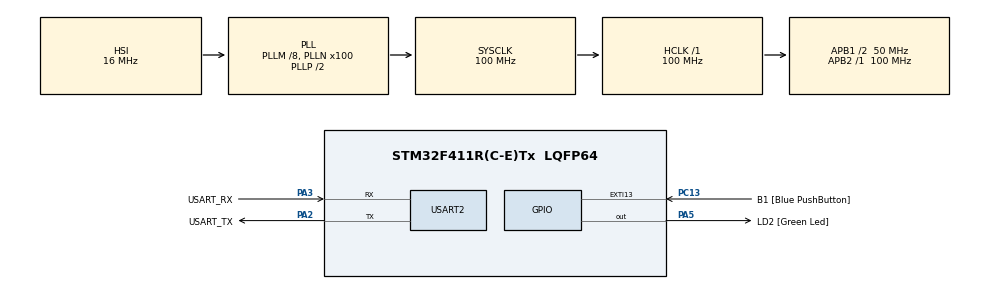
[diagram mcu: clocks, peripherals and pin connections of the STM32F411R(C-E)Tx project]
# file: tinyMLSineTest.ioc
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Mcu.Family=STM32F4
Mcu.Name=STM32F411R(C-E)Tx
Mcu.Package=LQFP64
NVIC.PriorityGroup=NVIC_PRIORITYGROUP_0
PA13.GPIO_Label=TMS
PA13.Mode=Serial_Wire
PA13.Signal=SYS_JTMS-SWDIO
PA14.GPIO_Label=TCK
PA14.Mode=Serial_Wire
PA14.Signal=SYS_JTCK-SWCLK
PA2.GPIO_Label=USART_TX
PA2.Mode=Asynchronous
PA2.Signal=USART2_TX
PA3.GPIO_Label=USART_RX
PA3.Mode=Asynchronous
PA3.Signal=USART2_RX
PA5.GPIO_Label=LD2 [Green Led]
PA5.Signal=GPIO_Output
PB3.GPIO_Label=SWO
PB3.Signal=SYS_JTDO-SWO
PC13-ANTI_TAMP.GPIO_Label=B1 [Blue PushButton]
PC13-ANTI_TAMP.GPIO_ModeDefaultEXTI=GPIO_MODE_IT_FALLING
PC13-ANTI_TAMP.Signal=GPXTI13
PC14-OSC32_IN.Mode=LSE-External-Oscillator
PC14-OSC32_IN.Signal=RCC_OSC32_IN
PC15-OSC32_OUT.Mode=LSE-External-Oscillator
PC15-OSC32_OUT.Signal=RCC_OSC32_OUT
PH0\ -\ OSC_IN.Mode=HSE-External-Clock-Source
PH0\ -\ OSC_IN.Signal=RCC_OSC_IN
PH1\ -\ OSC_OUT.Mode=HSE-External-Clock-Source
PH1\ -\ OSC_OUT.Signal=RCC_OSC_OUT
ProjectManager.HeapSize=0x200
ProjectManager.StackSize=0x800
ProjectManager.TargetToolchain=STM32CubeIDE
RCC.48MHZClocksFreq_Value=50000000
RCC.AHBFreq_Value=100000000
RCC.APB1CLKDivider=RCC_HCLK_DIV2
RCC.APB1Freq_Value=50000000
RCC.APB1TimFreq_Value=100000000
RCC.APB2Freq_Value=100000000
RCC.APB2TimFreq_Value=100000000
RCC.CortexFreq_Value=100000000
RCC.FLatency-AdvancedSettings=FLASH_LATENCY_3
RCC.HCLKFreq_Value=100000000
RCC.HSE_VALUE=8000000
RCC.HSI_VALUE=16000000
RCC.PLLM=8
RCC.PLLN=100
RCC.SYSCLKFreq_VALUE=100000000
RCC.SYSCLKSource=RCC_SYSCLKSOURCE_PLLCLK
RCC.VCOOutputFreq_Value=200000000
STMicroelectronics.X-CUBE-AI.5.1.2.ActivationBufferSizeList=136
STMicroelectronics.X-CUBE-AI.5.1.2.HeapSize=0x200
STMicroelectronics.X-CUBE-AI.5.1.2.InternalRamActivationBufferMaxSize=AI_SINE_MODEL_DATA_ACTIVATIONS_SIZE
STMicroelectronics.X-CUBE-AI.5.1.2.LatestDirectoryUsed-f183b992f345e0e266e5e4baad3d33b18fe246deb4fd7bf12be9cb23b31dbaaf=/home/jutoroa/workspace/NN_TinyML/SineWaveTFLite
STMicroelectronics.X-CUBE-AI.5.1.2.MaximumNumberOfInputLayer=1
STMicroelectronics.X-CUBE-AI.5.1.2.MaximumNumberOfOutputLayer=1
STMicroelectronics.X-CUBE-AI.5.1.2.MaximumSizeOfInputLayer=AI_SINE_MODEL_IN_1_SIZE_BYTES
STMicroelectronics.X-CUBE-AI.5.1.2.MaximumSizeOfOutputLayer=AI_SINE_MODEL_OUT_1_SIZE_BYTES
STMicroelectronics.X-CUBE-AI.5.1.2.ModelActualCompression-f183b992f345e0e266e5e4baad3d33b18fe246deb4fd7bf12be9cb23b31dbaaf=0.0
STMicroelectronics.X-CUBE-AI.5.1.2.ModelCompression-f183b992f345e0e266e5e4baad3d33b18fe246deb4fd7bf12be9cb23b31dbaaf=1
STMicroelectronics.X-CUBE-AI.5.1.2.ModelFlashOccupation-f183b992f345e0e266e5e4baad3d33b18fe246deb4fd7bf12be9cb23b31dbaaf=1284
STMicroelectronics.X-CUBE-AI.5.1.2.ModelHashList=f183b992f345e0e266e5e4baad3d33b18fe246deb4fd7bf12be9cb23b31dbaaf
STMicroelectronics.X-CUBE-AI.5.1.2.ModelKind-f183b992f345e0e266e5e4baad3d33b18fe246deb4fd7bf12be9cb23b31dbaaf=TFLITE
STMicroelectronics.X-CUBE-AI.5.1.2.ModelMacc-f183b992f345e0e266e5e4baad3d33b18fe246deb4fd7bf12be9cb23b31dbaaf=320
STMicroelectronics.X-CUBE-AI.5.1.2.ModelName-f183b992f345e0e266e5e4baad3d33b18fe246deb4fd7bf12be9cb23b31dbaaf=sine_model
STMicroelectronics.X-CUBE-AI.5.1.2.ModelNameList=sine_model
STMicroelectronics.X-CUBE-AI.5.1.2.ModelRamOccupation-f183b992f345e0e266e5e4baad3d33b18fe246deb4fd7bf12be9cb23b31dbaaf=136
STMicroelectronics.X-CUBE-AI.5.1.2.ModelStructureFile-f183b992f345e0e266e5e4baad3d33b18fe246deb4fd7bf12be9cb23b31dbaaf=/home/jutoroa/workspace/NN_TinyML/SineWaveTFLite/sineModel.tflite
STMicroelectronics.X-CUBE-AI.5.1.2.ModelType-f183b992f345e0e266e5e4baad3d33b18fe246deb4fd7bf12be9cb23b31dbaaf=Saved model
STMicroelectronics.X-CUBE-AI.5.1.2.StackSize=0x800
STMicroelectronics.X-CUBE-AI.5.1.2.WorkingBufferStartAddrList=0xFFFFFFFF
STMicroelectronics.X-CUBE-AI.5.1.2.XAaCUBEAaAICcArtificialOoIntelligenceJjCore=true
TIM11.Prescaler=100 - 1
USART2.VirtualMode=VM_ASYNC
VP_CRC_VS_CRC.Mode=CRC_Activate
VP_STMicroelectronics.X-CUBE-AI_VS_ArtificialOoIntelligenceJjXAaCUBEAaAI_5.1.2.Mode=ArtificialOoIntelligenceJjXAaCUBEAaAI
VP_TIM11_VS_ClockSourceINT.Mode=Enable_Timer
board=NUCLEO-F411RE

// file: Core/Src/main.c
/* USER CODE BEGIN Header */
/**
  ******************************************************************************
  * @file           : main.c
  * @brief          : Main program body
  ******************************************************************************
  * @attention
  *
  * Copyright (c) 2022 STMicroelectronics.
  * All rights reserved.
  *
  * This software is licensed under terms that can be found in the LICENSE file
  * in the root directory of this software component.
  * If no LICENSE file comes with this software, it is provided AS-IS.
  *
  ******************************************************************************
  */
/* USER CODE END Header */
#include "main.h"

/* USER CODE BEGIN Includes */
#include <stdio.h>

#include "ai_datatypes_defines.h"
#include "ai_platform.h"
#include "sine_model.h"
#include "sine_model_data.h"
/* USER CODE END Includes */

 CRC_HandleTypeDef hcrc;

TIM_HandleTypeDef htim11;

UART_HandleTypeDef huart2;

void SystemClock_Config(void);
static void MX_GPIO_Init(void);
static void MX_USART2_UART_Init(void);
static void MX_CRC_Init(void);
static void MX_TIM11_Init(void);

int main(void)
{
  /* USER CODE BEGIN 1 */

	char buf[50];
	int buf_len = 0;
	ai_error ai_err;
	ai_i32 nbatch;
	uint32_t timestamp;
	float y_val;

	AI_ALIGNED(4) ai_u8 activations[AI_SINE_MODEL_DATA_ACTIVATIONS_SIZE];

	AI_ALIGNED(4) ai_i8 in_data[AI_SINE_MODEL_IN_1_SIZE_BYTES];
	AI_ALIGNED(4) ai_i8 out_data[AI_SINE_MODEL_OUT_1_SIZE_BYTES];

	ai_handle sine_model = AI_HANDLE_NULL;

	ai_buffer ai_input[AI_SINE_MODEL_IN_NUM] = AI_SINE_MODEL_IN;
	ai_buffer ai_output[AI_SINE_MODEL_OUT_NUM] = AI_SINE_MODEL_OUT;

	ai_network_params ai_params = {
			AI_SINE_MODEL_DATA_WEIGHTS(ai_sine_model_data_weights_get()),
			AI_SINE_MODEL_DATA_ACTIVATIONS(activations)
	};

	ai_input[0].n_batches = 1;
	ai_input[0].data = AI_HANDLE_PTR(in_data);
	ai_output[0].n_batches = 1;
	ai_output[0].data = AI_HANDLE_PTR(out_data);

  /* USER CODE END 1 */

  /* MCU Configuration--------------------------------------------------------*/

  /* Reset of all peripherals, Initializes the Flash interface and the Systick. */
  HAL_Init();

  /* Configure the system clock */
  SystemClock_Config();

  /* Initialize all configured peripherals */
  MX_GPIO_Init();
  MX_USART2_UART_Init();
  MX_CRC_Init();
  MX_TIM11_Init();
  /* USER CODE BEGIN 2 */

  HAL_TIM_Base_Start(&htim11);

  buf_len = sprintf(buf, "\r\n\r\nSTM32 X-Cube-AI test\r\n");
  HAL_UART_Transmit(&huart2, (uint8_t *)buf,buf_len,100);

  ai_err = ai_sine_model_create(&sine_model, AI_SINE_MODEL_DATA_CONFIG);
  if(ai_err.type != AI_ERROR_NONE){
	  buf_len = sprintf(buf, "Error: could not create NN instance \r\n");
	  HAL_UART_Transmit(&huart2, (uint8_t *)buf, buf_len, 100);
	  while(1);
  }

  if(!ai_sine_model_init(sine_model, &ai_params)){
	  buf_len = sprintf(buf, "Error: could not initialize NN\r\n");
	  HAL_UART_Transmit(&huart2, (uint8_t *)buf, buf_len, 100);
	  while(1);
  }

  /* USER CODE END 2 */

  /* Infinite loop */
  /* USER CODE BEGIN WHILE */
  while (1)
  {
	  for(uint32_t i = 0; i < 2; i++){
		  ((ai_float *)in_data)[i] = (ai_float)2.0f;
	  }

	  timestamp = htim11.Instance->CNT;

	  nbatch = ai_sine_model_run(sine_model, &ai_input[0], &ai_output[0]);
	  if(nbatch != 1){
		  buf_len = sprintf(buf, "Error: could not run inference \r\n");
		  HAL_UART_Transmit(&huart2, (uint8_t *)buf, buf_len, 100);
	  }

	  y_val = ((float *)out_data)[0];

	  buf_len = sprintf(buf, "Output: %f | Duration: %lu\r\n", y_val, htim11.Instance -> CNT - timestamp);
	  HAL_UART_Transmit(&huart2, (uint8_t *)buf, buf_len, 100);

	  HAL_Delay(500);
    /* USER CODE END WHILE */

  }
}

void SystemClock_Config(void)
{
  RCC_OscInitTypeDef RCC_OscInitStruct = {0};
  RCC_ClkInitTypeDef RCC_ClkInitStruct = {0};

  /** Configure the main internal regulator output voltage
  */
  __HAL_RCC_PWR_CLK_ENABLE();
  __HAL_PWR_VOLTAGESCALING_CONFIG(PWR_REGULATOR_VOLTAGE_SCALE1);

  /** Initializes the RCC Oscillators according to the specified parameters
  * in the RCC_OscInitTypeDef structure.
  */
  RCC_OscInitStruct.OscillatorType = RCC_OSCILLATORTYPE_HSI;
  RCC_OscInitStruct.HSIState = RCC_HSI_ON;
  RCC_OscInitStruct.HSICalibrationValue = RCC_HSICALIBRATION_DEFAULT;
  RCC_OscInitStruct.PLL.PLLState = RCC_PLL_ON;
  RCC_OscInitStruct.PLL.PLLSource = RCC_PLLSOURCE_HSI;
  RCC_OscInitStruct.PLL.PLLM = 8;
  RCC_OscInitStruct.PLL.PLLN = 100;
  RCC_OscInitStruct.PLL.PLLP = RCC_PLLP_DIV2;
  RCC_OscInitStruct.PLL.PLLQ = 4;
  if (HAL_RCC_OscConfig(&RCC_OscInitStruct) != HAL_OK)
  {
    Error_Handler();
  }

  /** Initializes the CPU, AHB and APB buses clocks
  */
  RCC_ClkInitStruct.ClockType = RCC_CLOCKTYPE_HCLK|RCC_CLOCKTYPE_SYSCLK
                              |RCC_CLOCKTYPE_PCLK1|RCC_CLOCKTYPE_PCLK2;
  RCC_ClkInitStruct.SYSCLKSource = RCC_SYSCLKSOURCE_PLLCLK;
  RCC_ClkInitStruct.AHBCLKDivider = RCC_SYSCLK_DIV1;
  RCC_ClkInitStruct.APB1CLKDivider = RCC_HCLK_DIV2;
  RCC_ClkInitStruct.APB2CLKDivider = RCC_HCLK_DIV1;

  if (HAL_RCC_ClockConfig(&RCC_ClkInitStruct, FLASH_LATENCY_3) != HAL_OK)
  {
    Error_Handler();
  }
}

static void MX_CRC_Init(void)
{

  hcrc.Instance = CRC;
  if (HAL_CRC_Init(&hcrc) != HAL_OK)
  {
    Error_Handler();
  }

}

static void MX_TIM11_Init(void)
{

  htim11.Instance = TIM11;
  htim11.Init.Prescaler = 100 - 1;
  htim11.Init.CounterMode = TIM_COUNTERMODE_UP;
  htim11.Init.Period = 65535;
  htim11.Init.ClockDivision = TIM_CLOCKDIVISION_DIV1;
  htim11.Init.AutoReloadPreload = TIM_AUTORELOAD_PRELOAD_DISABLE;
  if (HAL_TIM_Base_Init(&htim11) != HAL_OK)
  {
    Error_Handler();
  }

}

static void MX_USART2_UART_Init(void)
{

  huart2.Instance = USART2;
  huart2.Init.BaudRate = 115200;
  huart2.Init.WordLength = UART_WORDLENGTH_8B;
  huart2.Init.StopBits = UART_STOPBITS_1;
  huart2.Init.Parity = UART_PARITY_NONE;
  huart2.Init.Mode = UART_MODE_TX_RX;
  huart2.Init.HwFlowCtl = UART_HWCONTROL_NONE;
  huart2.Init.OverSampling = UART_OVERSAMPLING_16;
  if (HAL_UART_Init(&huart2) != HAL_OK)
  {
    Error_Handler();
  }

}

static void MX_GPIO_Init(void)
{
  GPIO_InitTypeDef GPIO_InitStruct = {0};

  /* GPIO Ports Clock Enable */
  __HAL_RCC_GPIOC_CLK_ENABLE();
  __HAL_RCC_GPIOH_CLK_ENABLE();
  __HAL_RCC_GPIOA_CLK_ENABLE();
  __HAL_RCC_GPIOB_CLK_ENABLE();

  /*Configure GPIO pin Output Level */
  HAL_GPIO_WritePin(LD2_GPIO_Port, LD2_Pin, GPIO_PIN_RESET);

  /*Configure GPIO pin : B1_Pin */
  GPIO_InitStruct.Pin = B1_Pin;
  GPIO_InitStruct.Mode = GPIO_MODE_IT_FALLING;
  GPIO_InitStruct.Pull = GPIO_NOPULL;
  HAL_GPIO_Init(B1_GPIO_Port, &GPIO_InitStruct);

  /*Configure GPIO pin : LD2_Pin */
  GPIO_InitStruct.Pin = LD2_Pin;
  GPIO_InitStruct.Mode = GPIO_MODE_OUTPUT_PP;
  GPIO_InitStruct.Pull = GPIO_NOPULL;
  GPIO_InitStruct.Speed = GPIO_SPEED_FREQ_LOW;
  HAL_GPIO_Init(LD2_GPIO_Port, &GPIO_InitStruct);

}

void Error_Handler(void)
{
  __disable_irq();
  while (1)
  {
  }
}
